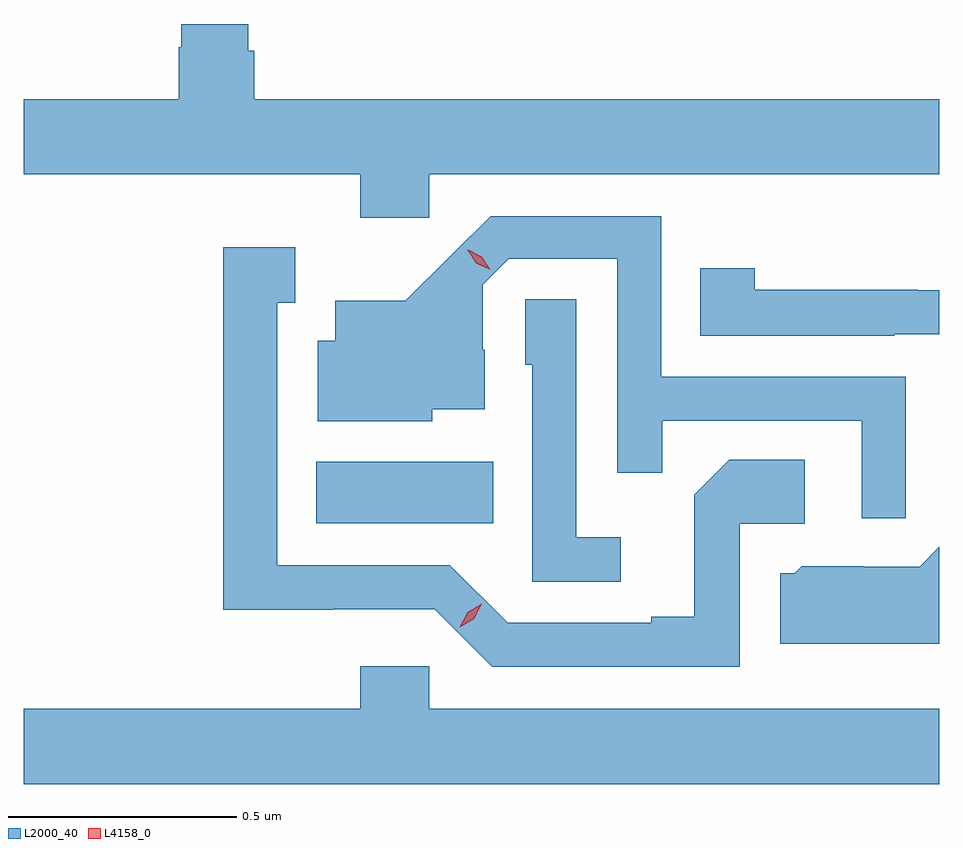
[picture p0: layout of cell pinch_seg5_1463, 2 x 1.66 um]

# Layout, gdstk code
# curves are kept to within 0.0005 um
import gdstk
lib = gdstk.Library(unit=1e-6, precision=1e-09)
def R(c, l, rs):  # rectangles x0, y0, x1, y1
    for r in rs: c.add(gdstk.rectangle(r[:2], r[2:], *l))
def P(c, l, *ps):  # polygons
    for p in ps: c.add(gdstk.Polygon(p, *l))
L2000_40 = (2000, 40)
L4158_0 = (4158, 0)

pinch_seg5_1463 = lib.new_cell('pinch_seg5_1463')
R(pinch_seg5_1463, L2000_40, [(136.259,905.282,136.646,905.416)])
P(pinch_seg5_1463, L2000_40, [(135.964,906.372),(135.964,906.321),(135.959,906.321),(135.959,906.208),(135.62,906.208),(135.62,906.044),(136.355,906.044),(136.355,905.949),(136.506,905.949),(136.506,906.044),(137.62,906.044),(137.62,906.208),(136.124,906.208),(136.124,906.314),(136.111,906.314),(136.111,906.372)],
  [(137.547,905.601),(137.013,905.601),(137.013,905.952),(136.64,905.952),(136.453,905.767),(136.301,905.767),(136.301,905.68),(136.262,905.68),(136.262,905.504),(136.512,905.504),(136.512,905.531),(136.627,905.531),(136.627,905.66),(136.623,905.66),(136.623,905.802),(136.68,905.859),(136.917,905.859),(136.917,905.392),(137.015,905.392),(137.015,905.505),(137.451,905.505),(137.451,905.292),(137.547,905.292)],
  [(137.184,905.28),(137.326,905.28),(137.326,905.42),(137.161,905.42),(137.085,905.344),(137.085,905.077),(136.991,905.077),(136.991,905.064),(136.677,905.064),(136.551,905.19),(136.174,905.19),(136.174,905.763),(136.213,905.763),(136.213,905.884),(136.056,905.884),(136.056,905.093),(136.296,905.093),(136.296,905.094),(136.518,905.094),(136.644,904.968),(137.184,904.968)],
  [(137.522,905.694),(137.62,905.694),(137.62,905.791),(137.573,905.791),(137.573,905.792),(137.217,905.792),(137.217,905.839),(137.098,905.839),(137.098,905.691),(137.522,905.691)],
  [(136.924,905.251),(136.827,905.251),(136.827,905.771),(136.716,905.771),(136.716,905.628),(136.731,905.628),(136.731,905.154),(136.924,905.154)],
  [(137.62,905.23),(137.577,905.187),(137.454,905.187),(137.454,905.188),(137.32,905.188),(137.304,905.172),(137.273,905.172),(137.273,905.018),(137.62,905.018)],
  [(137.62,904.876),(136.506,904.876),(136.506,904.969),(136.355,904.969),(136.355,904.876),(135.62,904.876),(135.62,904.712),(137.62,904.712)])
P(pinch_seg5_1463, L4158_0, [(136.639,905.835),(136.608,905.849),(136.59,905.878),(136.59,905.879),(136.591,905.879),(136.621,905.864),(136.639,905.835),(136.639,905.835)],
  [(136.573,905.054),(136.573,905.054),(136.59,905.087),(136.621,905.106),(136.621,905.106),(136.621,905.106),(136.604,905.073),(136.573,905.054)])

lib.write_gds('pinch_seg5_1463.gds')
